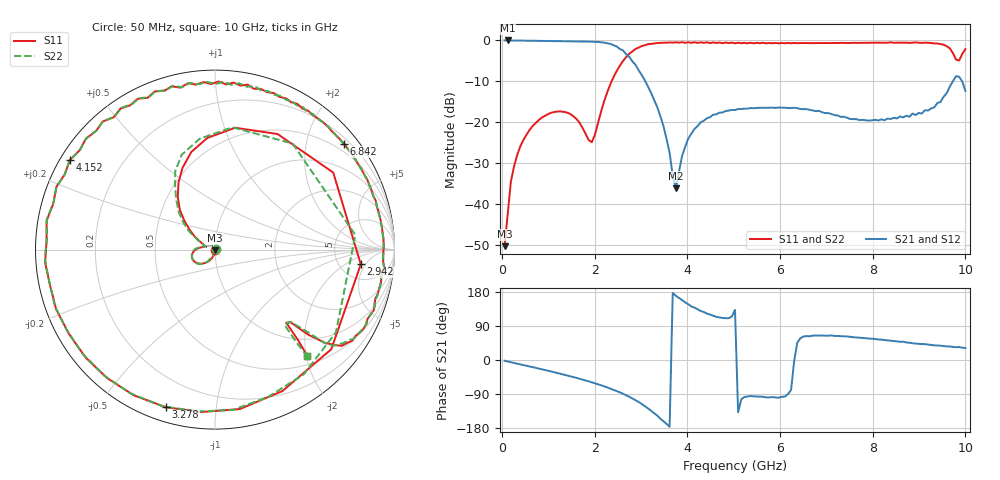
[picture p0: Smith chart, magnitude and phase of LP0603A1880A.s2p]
!	AVX THIN FILM OPERATION
!	LP0603 LOW PASS FILTERS
!	P/N LP0603A1880ALTR
!	Network	Analyzer	HP8720ES.07.64:	Feb	"23,"	2000	Serial	No.	US39172382
!	Hewlett-Packard
!	2	Feb	2004	02:33:11
!	Frequency	S11	S21	S12	S22
#	HZ	S	DB	R	50
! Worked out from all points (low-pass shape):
!   149 points, 50 MHz to 10 GHz, reference 50 ohm
!   highest |S21| = 0.00 dB at 117.2 MHz (marker M1); lowest = -36.1 dB at 3.749 GHz (marker M2)
!   |S21| within 3 dB of the highest: start of sweep to 2.649 GHz
!   lowest |S11| = -50.2 dB at 50 MHz (marker M3), VSWR 1.01, Z = 50 - j0.307 ohm
!   |S11| at or under -10 dB: start of sweep to 2.361 GHz
!   |S22| runs from -50.2 to -0.4 dB; largest |S21 - S12| = 0.022
!   S11 on the Smith chart (normalised r, x): 50 MHz: 1.00, -0.01; 2.942 GHz: 7.94, -3.92; 3.278 GHz: 0.06, -0.73; 4.152 GHz: 0.03, +0.28; 6.842 GHz: 0.32, +2.77; 10 GHz: 0.66, -2.02
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5e7  -50.23 -85.3  0.00 -2.0  0.00 -2.1  -50.23 14.3
1.1725e8  -42.39 -91.7  0.00 -3.8  0.00 -3.9  -42.39 -90.1
3.19e8  -28.08 -106.2  -0.02 -9.5  -0.02 -9.6  -28.08 -106.9
6.5525e8  -20.89 -125.5  -0.06 -18.9  -0.06 -19.1  -20.89 -125.7
1.73125e9  -21.31 173.0  -0.26 -51.7  -0.26 -51.5  -21.31 170.8
1.933e9  -24.85 160.3  -0.31 -58.8  -0.31 -59.1  -24.85 161.6
2.53825e9  -6.20 111.7  -2.08 -85.2  -2.08 -86.8  -6.20 116.9
2.74e9  -3.25 80.6  -3.98 -96.8  -3.98 -97.2  -3.25 81.9
2.8745e9  -2.09 33.1  -5.88 -105.8  -5.88 -106.2  -2.09 5.9
2.94175e9  -1.76 -5.8  -7.20 -110.5  -7.20 -110.8  -1.76 -34.4
3.07625e9  -1.18 -64.5  -9.69 -121.6  -9.69 -122.1  -1.18 -70.3
3.278e9  -0.72 -107.3  -14.50 -140.2  -14.50 -141.1  -0.72 -108.8
3.4125e9  -0.59 -130.1  -18.46 -154.8  -18.46 -154.4  -0.59 -131.7
3.74875e9  -0.45 -175.6  -36.11 169.4  -36.11 169.6  -0.45 -176.8
4.15225e9  -0.44 148.3  -21.59 138.2  -21.59 141.3  -0.44 148.7
5.0265e9  -0.70 102.1  -16.99 132.3  -16.99 134.5  -0.70 101.5
6.16975e9  -0.60 60.5  -16.52 -90.3  -16.52 -95.5  -0.60 58.4
6.70775e9  -0.66 43.3  -17.13 64.3  -17.13 66.7  -0.66 40.6
6.84225e9  -0.63 39.3  -17.20 64.4  -17.20 59.8  -0.63 36.6
8.389e9  -0.46 -6.1  -19.18 50.7  -19.18 48.9  -0.46 -6.6
9.80125e9  -4.68 -43.9  -8.72 33.8  -8.72 33.8  -4.68 -43.6
1.0003e10  -2.12 -49.0  -12.34 31.7  -12.34 29.7  -2.12 -49.2
